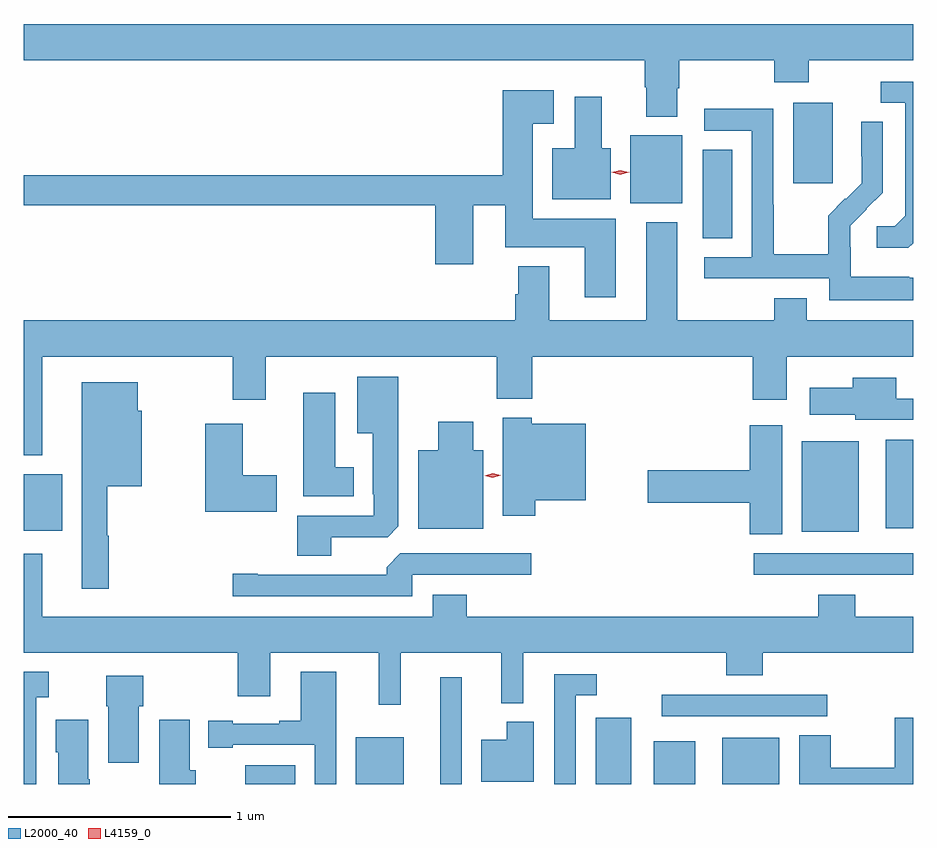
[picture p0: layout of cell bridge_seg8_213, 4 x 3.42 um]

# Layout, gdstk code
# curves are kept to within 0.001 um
import gdstk
lib = gdstk.Library(unit=1e-6, precision=1e-09)
def R(c, l, rs):  # rectangles x0, y0, x1, y1
    for r in rs: c.add(gdstk.rectangle(r[:2], r[2:], *l))
def P(c, l, *ps):  # polygons
    for p in ps: c.add(gdstk.Polygon(p, *l))
L2000_40 = (2000, 40)
L4159_0 = (4159, 0)

bridge_seg8_213 = lib.new_cell('bridge_seg8_213')
R(bridge_seg8_213, L2000_40, [(241.004,1122.571,241.228,1122.655), (241.502,1122.571,241.717,1122.781), (241.88,1122.571,241.977,1123.051), (242.579,1122.571,242.74,1122.868), (242.84,1122.571,243.028,1122.763), (243.149,1122.571,243.406,1122.778), (242.877,1122.876,243.622,1122.972), (243.291,1123.512,244.008,1123.608), (243.506,1123.706,243.763,1124.113), (240.008,1123.709,240.181,1123.963), (243.884,1123.721,244.008,1124.119), (243.062,1125.025,243.193,1125.422), (242.735,1125.182,242.968,1125.487), (243.467,1125.273,243.646,1125.634)])
P(bridge_seg8_213, L2000_40, [(242.947,1125.7),(242.955,1125.7),(242.955,1125.824),(243.382,1125.824),(243.382,1125.725),(243.537,1125.725),(243.537,1125.824),(244.008,1125.824),(244.008,1125.988),(240.008,1125.988),(240.008,1125.824),(242.8,1125.824),(242.8,1125.704),(242.807,1125.704),(242.807,1125.572),(242.947,1125.572)],
  [(244.008,1125.003),(244.008,1125.729),(243.861,1125.729),(243.861,1125.633),(243.971,1125.633),(243.971,1125.125),(243.924,1125.078),(243.843,1125.078),(243.843,1124.981),(243.986,1124.981)],
  [(242.671,1125.112),(242.296,1125.112),(242.296,1125.539),(242.392,1125.539),(242.392,1125.691),(242.162,1125.691),(242.162,1125.308),(240.008,1125.308),(240.008,1125.172),(241.859,1125.172),(241.859,1124.907),(242.029,1124.907),(242.029,1125.172),(242.174,1125.172),(242.174,1124.984),(242.531,1124.984),(242.531,1124.76),(242.671,1124.76)],
  [(242.647,1125.43),(242.608,1125.43),(242.608,1125.661),(242.486,1125.661),(242.486,1125.43),(242.384,1125.43),(242.384,1125.2),(242.647,1125.2)],
  [(244.008,1124.847),(243.989,1124.847),(243.989,1124.851),(243.726,1124.851),(243.726,1124.985),(243.724,1124.985),(243.724,1125.082),(243.87,1125.23),(243.87,1125.548),(243.774,1125.548),(243.774,1125.394),(243.776,1125.394),(243.776,1125.272),(243.705,1125.201),(243.702,1125.204),(243.625,1125.127),(243.625,1124.953),(243.381,1124.953),(243.381,1125.176),(243.378,1125.176),(243.378,1125.606),(243.069,1125.606),(243.069,1125.507),(243.282,1125.507),(243.282,1124.94),(243.069,1124.94),(243.069,1124.844),(243.63,1124.844),(243.63,1124.747),(244.008,1124.747)],
  [(240.091,1124.492),(240.949,1124.492),(240.949,1124.298),(241.096,1124.298),(241.096,1124.492),(242.134,1124.492),(242.134,1124.303),(242.294,1124.303),(242.294,1124.492),(243.287,1124.492),(243.287,1124.298),(243.439,1124.298),(243.439,1124.492),(244.008,1124.492),(244.008,1124.656),(243.529,1124.656),(243.529,1124.755),(243.382,1124.755),(243.382,1124.656),(242.947,1124.656),(242.947,1125.097),(242.807,1125.097),(242.807,1124.656),(242.371,1124.656),(242.371,1124.899),(242.231,1124.899),(242.231,1124.772),(242.219,1124.772),(242.219,1124.656),(240.008,1124.656),(240.008,1124.048),(240.091,1124.048)],
  [(241.39,1123.68),(241.644,1123.68),(241.693,1123.729),(241.693,1124.401),(241.508,1124.401),(241.508,1124.147),(241.577,1124.147),(241.577,1123.873),(241.581,1123.873),(241.581,1123.776),(241.238,1123.776),(241.238,1123.597),(241.39,1123.597)],
  [(244.008,1124.304),(243.931,1124.304),(243.931,1124.398),(243.736,1124.398),(243.736,1124.353),(243.543,1124.353),(243.543,1124.231),(243.747,1124.231),(243.747,1124.208),(244.008,1124.208)],
  [(240.391,1123.688),(240.383,1123.688),(240.383,1123.91),(240.538,1123.91),(240.538,1124.25),(240.52,1124.25),(240.52,1124.377),(240.269,1124.377),(240.269,1123.449),(240.391,1123.449)],
  [(241.492,1123.996),(241.408,1123.996),(241.408,1124.329),(241.265,1124.329),(241.265,1123.865),(241.492,1123.865)],
  [(242.309,1123.847),(242.536,1123.847),(242.536,1124.191),(242.292,1124.191),(242.292,1124.218),(242.162,1124.218),(242.162,1123.776),(242.309,1123.776)],
  [(242.074,1124.071),(242.029,1124.071),(242.029,1124.2),(241.871,1124.2),(241.871,1124.071),(241.781,1124.071),(241.781,1123.718),(242.074,1123.718)],
  [(241.147,1123.959),(240.994,1123.959),(240.994,1124.191),(240.824,1124.191),(240.824,1123.796),(241.147,1123.796)],
  [(243.418,1124.185),(243.272,1124.185),(243.272,1123.982),(242.814,1123.982),(242.814,1123.835),(243.272,1123.835),(243.272,1123.693),(243.418,1123.693)],
  [(241.755,1123.512),(242.29,1123.512),(242.29,1123.608),(241.701,1123.608),(241.64,1123.546),(241.64,1123.512),(241.06,1123.512),(241.06,1123.517),(240.948,1123.517),(240.948,1123.416),(241.755,1123.416)],
  [(241.703,1123.16),(242.156,1123.16),(242.156,1122.935),(242.254,1122.935),(242.254,1123.16),(243.167,1123.16),(243.167,1123.061),(243.332,1123.061),(243.332,1123.16),(244.008,1123.16),(244.008,1123.324),(243.746,1123.324),(243.746,1123.423),(243.581,1123.423),(243.581,1123.324),(242,1123.324),(242,1123.423),(241.847,1123.423),(241.847,1123.324),(240.091,1123.324),(240.091,1123.606),(240.008,1123.606),(240.008,1123.16),(240.97,1123.16),(240.97,1122.966),(241.117,1122.966),(241.117,1123.16),(241.604,1123.16),(241.604,1122.927),(241.703,1122.927)],
  [(240.064,1122.962),(240.121,1122.962),(240.121,1123.075),(240.008,1123.075),(240.008,1122.571),(240.064,1122.571)],
  [(241.413,1122.85),(241.414,1122.85),(241.414,1123.075),(241.253,1123.075),(241.253,1122.856),(241.157,1122.856),(241.157,1122.843),(240.949,1122.843),(240.949,1122.856),(240.839,1122.856),(240.839,1122.735),(240.949,1122.735),(240.949,1122.747),(241.317,1122.747),(241.317,1122.571),(241.413,1122.571)],
  [(242.49,1122.969),(242.584,1122.969),(242.584,1123.065),(242.394,1123.065),(242.394,1122.571),(242.49,1122.571)],
  [(240.526,1122.921),(240.546,1122.921),(240.546,1123.057),(240.38,1123.057),(240.38,1122.921),(240.389,1122.921),(240.389,1122.666),(240.526,1122.666)],
  [(244.008,1122.868),(243.925,1122.868),(243.925,1122.644),(243.636,1122.644),(243.636,1122.791),(243.494,1122.791),(243.494,1122.571),(244.008,1122.571)],
  [(240.781,1122.633),(240.754,1122.633),(240.754,1122.859),(240.617,1122.859),(240.617,1122.571),(240.781,1122.571)],
  [(240.306,1122.592),(240.298,1122.592),(240.298,1122.859),(240.152,1122.859),(240.152,1122.714),(240.164,1122.714),(240.164,1122.571),(240.306,1122.571)],
  [(242.302,1122.85),(242.18,1122.85),(242.18,1122.769),(242.066,1122.769),(242.066,1122.581),(242.302,1122.581)])
P(bridge_seg8_213, L4159_0, [(242.118,1123.948),(242.082,1123.958),(242.082,1123.958),(242.082,1123.958),(242.118,1123.968),(242.154,1123.959),(242.154,1123.959),(242.154,1123.959)],
  [(242.691,1125.311),(242.652,1125.321),(242.652,1125.321),(242.652,1125.321),(242.691,1125.331),(242.729,1125.321),(242.73,1125.321),(242.729,1125.321)])

lib.write_gds('bridge_seg8_213.gds')
